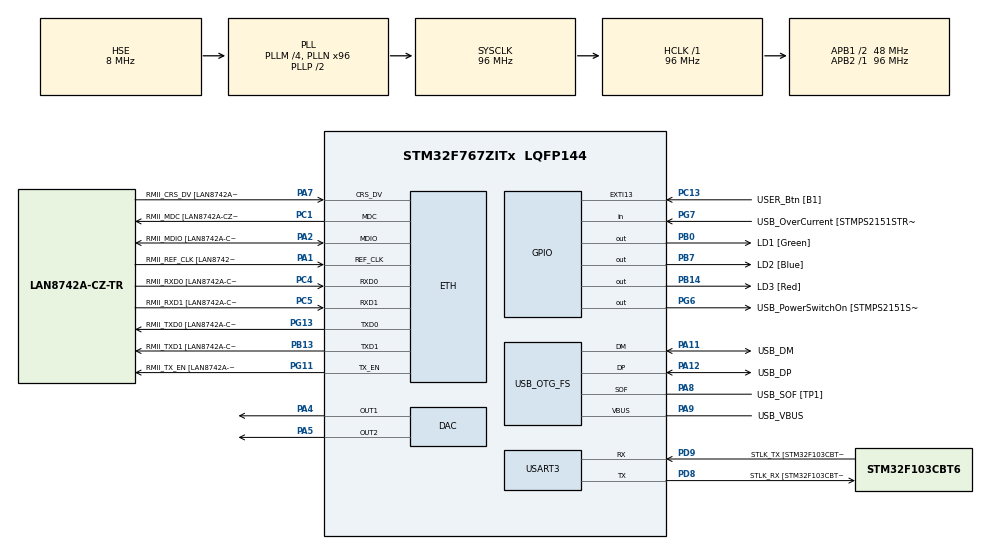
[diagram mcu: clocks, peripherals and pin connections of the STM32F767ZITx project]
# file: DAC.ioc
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DAC.DAC_Trigger=DAC_TRIGGER_T6_TRGO
DAC.DAC_Trigger2=DAC_TRIGGER_T6_TRGO
Dma.DAC1.0.Direction=DMA_MEMORY_TO_PERIPH
Dma.DAC1.0.FIFOMode=DMA_FIFOMODE_DISABLE
Dma.DAC1.0.Instance=DMA1_Stream5
Dma.DAC1.0.MemDataAlignment=DMA_MDATAALIGN_HALFWORD
Dma.DAC1.0.MemInc=DMA_MINC_ENABLE
Dma.DAC1.0.Mode=DMA_CIRCULAR
Dma.DAC1.0.PeriphDataAlignment=DMA_PDATAALIGN_HALFWORD
Dma.DAC1.0.PeriphInc=DMA_PINC_DISABLE
Dma.DAC1.0.Priority=DMA_PRIORITY_LOW
Dma.DAC2.1.Direction=DMA_MEMORY_TO_PERIPH
Dma.DAC2.1.FIFOMode=DMA_FIFOMODE_DISABLE
Dma.DAC2.1.Instance=DMA1_Stream6
Dma.DAC2.1.MemDataAlignment=DMA_MDATAALIGN_HALFWORD
Dma.DAC2.1.MemInc=DMA_MINC_ENABLE
Dma.DAC2.1.Mode=DMA_CIRCULAR
Dma.DAC2.1.PeriphDataAlignment=DMA_PDATAALIGN_HALFWORD
Dma.DAC2.1.PeriphInc=DMA_PINC_DISABLE
Dma.DAC2.1.Priority=DMA_PRIORITY_LOW
Dma.Request0=DAC1
Dma.Request1=DAC2
ETH.MediaInterface=HAL_ETH_RMII_MODE
ETH.PHY_Name=LAN8742A_PHY_ADDRESS
ETH.PHY_Value=0
ETH.PhyAddress=0
Mcu.Family=STM32F7
Mcu.Name=STM32F767ZITx
Mcu.Package=LQFP144
NVIC.DMA1_Stream5_IRQn=true\:0\:0\:false\:false\:true\:false\:true\:true
NVIC.DMA1_Stream6_IRQn=true\:0\:0\:false\:false\:true\:false\:true\:true
NVIC.PriorityGroup=NVIC_PRIORITYGROUP_4
PA1.GPIO_Label=RMII_REF_CLK [LAN8742A-CZ-TR_REFCLK0]
PA1.Mode=RMII
PA1.Signal=ETH_REF_CLK
PA10.GPIO_Label=USB_ID
PA10.Signal=USB_OTG_FS_ID
PA11.GPIO_Label=USB_DM
PA11.Mode=Device_Only
PA11.Signal=USB_OTG_FS_DM
PA12.GPIO_Label=USB_DP
PA12.Mode=Device_Only
PA12.Signal=USB_OTG_FS_DP
PA13.GPIO_Label=TMS
PA13.Mode=Serial_Wire
PA13.Signal=SYS_JTMS-SWDIO
PA14.GPIO_Label=TCK
PA14.Mode=Serial_Wire
PA14.Signal=SYS_JTCK-SWCLK
PA2.GPIO_Label=RMII_MDIO [LAN8742A-CZ-TR_MDIO]
PA2.Mode=RMII
PA2.Signal=ETH_MDIO
PA4.Signal=COMP_DAC1_group
PA5.Signal=COMP_DAC2_group
PA7.GPIO_Label=RMII_CRS_DV [LAN8742A-CZ-TR_CRS_DV]
PA7.Mode=RMII
PA7.Signal=ETH_CRS_DV
PA8.GPIO_Label=USB_SOF [TP1]
PA8.Mode=Activate_SOF_FS
PA8.Signal=USB_OTG_FS_SOF
PA9.GPIO_Label=USB_VBUS
PA9.Mode=Activate_VBUS
PA9.Signal=USB_OTG_FS_VBUS
PB0.GPIO_Label=LD1 [Green]
PB0.Signal=GPIO_Output
PB13.GPIO_Label=RMII_TXD1 [LAN8742A-CZ-TR_TXD1]
PB13.Mode=RMII
PB13.Signal=ETH_TXD1
PB14.GPIO_Label=LD3 [Red]
PB14.Signal=GPIO_Output
PB3.GPIO_Label=SWO
PB3.Signal=SYS_JTDO-SWO
PB7.GPIO_Label=LD2 [Blue]
PB7.Signal=GPIO_Output
PC1.GPIO_Label=RMII_MDC [LAN8742A-CZ-TR_MDC]
PC1.Mode=RMII
PC1.Signal=ETH_MDC
PC13.GPIO_Label=USER_Btn [B1]
PC13.Signal=GPXTI13
PC14/OSC32_IN.Mode=LSE-External-Oscillator
PC14/OSC32_IN.Signal=RCC_OSC32_IN
PC15/OSC32_OUT.Mode=LSE-External-Oscillator
PC15/OSC32_OUT.Signal=RCC_OSC32_OUT
PC4.GPIO_Label=RMII_RXD0 [LAN8742A-CZ-TR_RXD0]
PC4.Mode=RMII
PC4.Signal=ETH_RXD0
PC5.GPIO_Label=RMII_RXD1 [LAN8742A-CZ-TR_RXD1]
PC5.Mode=RMII
PC5.Signal=ETH_RXD1
PD8.GPIO_Label=STLK_RX [STM32F103CBT6_PA3]
PD8.Mode=Asynchronous
PD8.Signal=USART3_TX
PD9.GPIO_Label=STLK_TX [STM32F103CBT6_PA2]
PD9.Mode=Asynchronous
PD9.Signal=USART3_RX
PG11.GPIO_Label=RMII_TX_EN [LAN8742A-CZ-TR_TXEN]
PG11.Mode=RMII
PG11.Signal=ETH_TX_EN
PG13.GPIO_Label=RMII_TXD0 [LAN8742A-CZ-TR_TXD0]
PG13.Mode=RMII
PG13.Signal=ETH_TXD0
PG6.GPIO_Label=USB_PowerSwitchOn [STMPS2151STR_EN]
PG6.Signal=GPIO_Output
PG7.GPIO_Label=USB_OverCurrent [STMPS2151STR_FAULT]
PG7.Signal=GPIO_Input
PH0/OSC_IN.GPIO_Label=MCO [STM32F103CBT6_PA8]
PH0/OSC_IN.Mode=HSE-External-Clock-Source
PH0/OSC_IN.Signal=RCC_OSC_IN
PH1/OSC_OUT.Mode=HSE-External-Clock-Source
PH1/OSC_OUT.Signal=RCC_OSC_OUT
ProjectManager.HeapSize=0x200
ProjectManager.StackSize=0x400
ProjectManager.TargetToolchain=STM32CubeIDE
RCC.48MHZClocksFreq_Value=24000000
RCC.AHBFreq_Value=96000000
RCC.APB1CLKDivider=RCC_HCLK_DIV2
RCC.APB1Freq_Value=48000000
RCC.APB1TimFreq_Value=96000000
RCC.APB2Freq_Value=96000000
RCC.APB2TimFreq_Value=96000000
RCC.CortexFreq_Value=96000000
RCC.HCLKFreq_Value=96000000
RCC.HSE_VALUE=8000000
RCC.HSI_VALUE=16000000
RCC.PLLM=4
RCC.PLLMUL=RCC_PLL_MUL9
RCC.PLLN=96
RCC.PLLQ=4
RCC.PRESCALERUSB=RCC_USBCLKSOURCE_PLL_DIV1_5
RCC.SYSCLKFreq_VALUE=96000000
RCC.SYSCLKSource=RCC_SYSCLKSOURCE_PLLCLK
RCC.SYSCLKSourceVirtual=RCC_SYSCLKSOURCE_PLLCLK
RCC.USBFreq_Value=48000000
RCC.VCOOutputFreq_Value=192000000
SH.COMP_DAC1_group.0=DAC_OUT1,DAC_OUT1
SH.COMP_DAC2_group.0=DAC_OUT2,DAC_OUT2
TIM6.Period=999
TIM6.Prescaler=95
TIM6.TIM_MasterOutputTrigger=TIM_TRGO_UPDATE
USART3.VirtualMode-Asynchronous=VM_ASYNC
USB_OTG_FS.VirtualMode=Device_Only
VP_TIM6_VS_ClockSourceINT.Mode=Enable_Timer
board=NUCLEO-F767ZI

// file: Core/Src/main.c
/* USER CODE BEGIN Header */
/**
  ******************************************************************************
  * @file           : main.c
  * @brief          : Main program body
  ******************************************************************************
  * @attention
  *
  * Copyright (c) 2026 STMicroelectronics.
  * All rights reserved.
  *
  * This software is licensed under terms that can be found in the LICENSE file
  * in the root directory of this software component.
  * If no LICENSE file comes with this software, it is provided AS-IS.
  *
  ******************************************************************************
  */
/* USER CODE END Header */
#include "main.h"
#include "string.h"
#include "math.h"
/* USER CODE BEGIN Includes */

#define wave_sample  64

/* USER CODE END Includes */

#if defined ( __ICCARM__ ) /*!< IAR Compiler */
#pragma location=0x2007c000
ETH_DMADescTypeDef  DMARxDscrTab[ETH_RX_DESC_CNT]; /* Ethernet Rx DMA Descriptors */
#pragma location=0x2007c0a0
ETH_DMADescTypeDef  DMATxDscrTab[ETH_TX_DESC_CNT]; /* Ethernet Tx DMA Descriptors */

#elif defined ( __CC_ARM )  /* MDK ARM Compiler */

__attribute__((at(0x2007c000))) ETH_DMADescTypeDef  DMARxDscrTab[ETH_RX_DESC_CNT]; /* Ethernet Rx DMA Descriptors */
__attribute__((at(0x2007c0a0))) ETH_DMADescTypeDef  DMATxDscrTab[ETH_TX_DESC_CNT]; /* Ethernet Tx DMA Descriptors */

#elif defined ( __GNUC__ ) /* GNU Compiler */

ETH_DMADescTypeDef DMARxDscrTab[ETH_RX_DESC_CNT] __attribute__((section(".RxDecripSection"))); /* Ethernet Rx DMA Descriptors */
ETH_DMADescTypeDef DMATxDscrTab[ETH_TX_DESC_CNT] __attribute__((section(".TxDecripSection")));   /* Ethernet Tx DMA Descriptors */
#endif

ETH_TxPacketConfig TxConfig;

DAC_HandleTypeDef hdac;
DMA_HandleTypeDef hdma_dac1;
DMA_HandleTypeDef hdma_dac2;

ETH_HandleTypeDef heth;

TIM_HandleTypeDef htim6;

UART_HandleTypeDef huart3;

PCD_HandleTypeDef hpcd_USB_OTG_FS;

/* USER CODE BEGIN PV */
int i = 0 , j =0;

uint32_t wave[wave_sample];
volatile uint32_t currentDACvalue;
/* USER CODE END PV */

void SystemClock_Config(void);
static void MX_GPIO_Init(void);
static void MX_DMA_Init(void);
static void MX_ETH_Init(void);
static void MX_USART3_UART_Init(void);
static void MX_USB_OTG_FS_PCD_Init(void);
static void MX_DAC_Init(void);
static void MX_TIM6_Init(void);

/* USER CODE BEGIN 0 */
/*
void dac_led(void)
{

	for(i=0;i<=4095;i+=8)
	{

		HAL_DAC_SetValue(&hdac, DAC_CHANNEL_1, DAC_ALIGN_12B_R, i);
		HAL_DAC_SetValue(&hdac, DAC_CHANNEL_2, DAC_ALIGN_12B_R, i);
		HAL_Delay(5);
	}

	for(j=4095 ; j>0; j-=8)
	{

		HAL_DAC_SetValue(&hdac, DAC_CHANNEL_1, DAC_ALIGN_12B_R, j);
				HAL_DAC_SetValue(&hdac, DAC_CHANNEL_2, DAC_ALIGN_12B_R, j);
				HAL_Delay(5);

	}

}
*/

void sin_function(void)
{
	for(int i = 0; i < wave_sample; i++)
	{
		wave[i] = (uint32_t)((sinf(2.0f * M_PI * i / wave_sample) + 1.0f) * 2047.0f);
	}

}

void HAL_DAC_ConvCplCallbackCh1(DAC_HandleTypeDef *hdac)
{
static int index = 0;
currentDACvalue = wave[index];
index = (index+1)%64;
}

/* USER CODE END 0 */

int main(void)
{

  /* MCU Configuration--------------------------------------------------------*/

  /* Reset of all peripherals, Initializes the Flash interface and the Systick. */
  HAL_Init();

  /* Configure the system clock */
  SystemClock_Config();

  /* Initialize all configured peripherals */
  MX_GPIO_Init();
  MX_DMA_Init();
  MX_ETH_Init();
  MX_USART3_UART_Init();
  MX_USB_OTG_FS_PCD_Init();
  MX_DAC_Init();
  MX_TIM6_Init();
  /* USER CODE BEGIN 2 */
  /*
HAL_DAC_Start(&hdac,DAC_CHANNEL_1);
HAL_DAC_Start(&hdac,DAC_CHANNEL_2);
*/
  sin_function();
  HAL_DAC_Start_DMA(&hdac, DAC_CHANNEL_1, wave, wave_sample, DAC_ALIGN_12B_R);
  HAL_DAC_Start_DMA(&hdac, DAC_CHANNEL_2, wave, wave_sample, DAC_ALIGN_12B_R);
  HAL_TIM_Base_Start(&htim6);

  /* USER CODE END 2 */

  /* Infinite loop */
  while (1)
  {

  }
}

void SystemClock_Config(void)
{
  RCC_OscInitTypeDef RCC_OscInitStruct = {0};
  RCC_ClkInitTypeDef RCC_ClkInitStruct = {0};

  /** Configure LSE Drive Capability
  */
  HAL_PWR_EnableBkUpAccess();

  /** Configure the main internal regulator output voltage
  */
  __HAL_RCC_PWR_CLK_ENABLE();
  __HAL_PWR_VOLTAGESCALING_CONFIG(PWR_REGULATOR_VOLTAGE_SCALE3);

  /** Initializes the RCC Oscillators according to the specified parameters
  * in the RCC_OscInitTypeDef structure.
  */
  RCC_OscInitStruct.OscillatorType = RCC_OSCILLATORTYPE_HSE;
  RCC_OscInitStruct.HSEState = RCC_HSE_BYPASS;
  RCC_OscInitStruct.PLL.PLLState = RCC_PLL_ON;
  RCC_OscInitStruct.PLL.PLLSource = RCC_PLLSOURCE_HSE;
  RCC_OscInitStruct.PLL.PLLM = 4;
  RCC_OscInitStruct.PLL.PLLN = 96;
  RCC_OscInitStruct.PLL.PLLP = RCC_PLLP_DIV2;
  RCC_OscInitStruct.PLL.PLLQ = 4;
  RCC_OscInitStruct.PLL.PLLR = 2;
  if (HAL_RCC_OscConfig(&RCC_OscInitStruct) != HAL_OK)
  {
    Error_Handler();
  }

  /** Activate the Over-Drive mode
  */
  if (HAL_PWREx_EnableOverDrive() != HAL_OK)
  {
    Error_Handler();
  }

  /** Initializes the CPU, AHB and APB buses clocks
  */
  RCC_ClkInitStruct.ClockType = RCC_CLOCKTYPE_HCLK|RCC_CLOCKTYPE_SYSCLK
                              |RCC_CLOCKTYPE_PCLK1|RCC_CLOCKTYPE_PCLK2;
  RCC_ClkInitStruct.SYSCLKSource = RCC_SYSCLKSOURCE_PLLCLK;
  RCC_ClkInitStruct.AHBCLKDivider = RCC_SYSCLK_DIV1;
  RCC_ClkInitStruct.APB1CLKDivider = RCC_HCLK_DIV2;
  RCC_ClkInitStruct.APB2CLKDivider = RCC_HCLK_DIV1;

  if (HAL_RCC_ClockConfig(&RCC_ClkInitStruct, FLASH_LATENCY_3) != HAL_OK)
  {
    Error_Handler();
  }
}

static void MX_DAC_Init(void)
{

  DAC_ChannelConfTypeDef sConfig = {0};

  /** DAC Initialization
  */
  hdac.Instance = DAC;
  if (HAL_DAC_Init(&hdac) != HAL_OK)
  {
    Error_Handler();
  }

  /** DAC channel OUT1 config
  */
  sConfig.DAC_Trigger = DAC_TRIGGER_T6_TRGO;
  sConfig.DAC_OutputBuffer = DAC_OUTPUTBUFFER_ENABLE;
  if (HAL_DAC_ConfigChannel(&hdac, &sConfig, DAC_CHANNEL_1) != HAL_OK)
  {
    Error_Handler();
  }

  /** DAC channel OUT2 config
  */
  if (HAL_DAC_ConfigChannel(&hdac, &sConfig, DAC_CHANNEL_2) != HAL_OK)
  {
    Error_Handler();
  }

}

static void MX_ETH_Init(void)
{

   static uint8_t MACAddr[6];

  heth.Instance = ETH;
  MACAddr[0] = 0x00;
  MACAddr[1] = 0x80;
  MACAddr[2] = 0xE1;
  MACAddr[3] = 0x00;
  MACAddr[4] = 0x00;
  MACAddr[5] = 0x00;
  heth.Init.MACAddr = &MACAddr[0];
  heth.Init.MediaInterface = HAL_ETH_RMII_MODE;
  heth.Init.TxDesc = DMATxDscrTab;
  heth.Init.RxDesc = DMARxDscrTab;
  heth.Init.RxBuffLen = 1524;

  if (HAL_ETH_Init(&heth) != HAL_OK)
  {
    Error_Handler();
  }

  memset(&TxConfig, 0 , sizeof(ETH_TxPacketConfig));
  TxConfig.Attributes = ETH_TX_PACKETS_FEATURES_CSUM | ETH_TX_PACKETS_FEATURES_CRCPAD;
  TxConfig.ChecksumCtrl = ETH_CHECKSUM_IPHDR_PAYLOAD_INSERT_PHDR_CALC;
  TxConfig.CRCPadCtrl = ETH_CRC_PAD_INSERT;

}

static void MX_TIM6_Init(void)
{

  TIM_MasterConfigTypeDef sMasterConfig = {0};

  htim6.Instance = TIM6;
  htim6.Init.Prescaler = 95;
  htim6.Init.CounterMode = TIM_COUNTERMODE_UP;
  htim6.Init.Period = 999;
  htim6.Init.AutoReloadPreload = TIM_AUTORELOAD_PRELOAD_DISABLE;
  if (HAL_TIM_Base_Init(&htim6) != HAL_OK)
  {
    Error_Handler();
  }
  sMasterConfig.MasterOutputTrigger = TIM_TRGO_UPDATE;
  sMasterConfig.MasterSlaveMode = TIM_MASTERSLAVEMODE_DISABLE;
  if (HAL_TIMEx_MasterConfigSynchronization(&htim6, &sMasterConfig) != HAL_OK)
  {
    Error_Handler();
  }

}

static void MX_USART3_UART_Init(void)
{

  huart3.Instance = USART3;
  huart3.Init.BaudRate = 115200;
  huart3.Init.WordLength = UART_WORDLENGTH_8B;
  huart3.Init.StopBits = UART_STOPBITS_1;
  huart3.Init.Parity = UART_PARITY_NONE;
  huart3.Init.Mode = UART_MODE_TX_RX;
  huart3.Init.HwFlowCtl = UART_HWCONTROL_NONE;
  huart3.Init.OverSampling = UART_OVERSAMPLING_16;
  huart3.Init.OneBitSampling = UART_ONE_BIT_SAMPLE_DISABLE;
  huart3.AdvancedInit.AdvFeatureInit = UART_ADVFEATURE_NO_INIT;
  if (HAL_UART_Init(&huart3) != HAL_OK)
  {
    Error_Handler();
  }

}

static void MX_USB_OTG_FS_PCD_Init(void)
{

  hpcd_USB_OTG_FS.Instance = USB_OTG_FS;
  hpcd_USB_OTG_FS.Init.dev_endpoints = 6;
  hpcd_USB_OTG_FS.Init.speed = PCD_SPEED_FULL;
  hpcd_USB_OTG_FS.Init.dma_enable = DISABLE;
  hpcd_USB_OTG_FS.Init.phy_itface = PCD_PHY_EMBEDDED;
  hpcd_USB_OTG_FS.Init.Sof_enable = ENABLE;
  hpcd_USB_OTG_FS.Init.low_power_enable = DISABLE;
  hpcd_USB_OTG_FS.Init.lpm_enable = DISABLE;
  hpcd_USB_OTG_FS.Init.vbus_sensing_enable = ENABLE;
  hpcd_USB_OTG_FS.Init.use_dedicated_ep1 = DISABLE;
  if (HAL_PCD_Init(&hpcd_USB_OTG_FS) != HAL_OK)
  {
    Error_Handler();
  }

}

static void MX_DMA_Init(void)
{

  /* DMA controller clock enable */
  __HAL_RCC_DMA1_CLK_ENABLE();

  /* DMA interrupt init */
  /* DMA1_Stream5_IRQn interrupt configuration */
  HAL_NVIC_SetPriority(DMA1_Stream5_IRQn, 0, 0);
  HAL_NVIC_EnableIRQ(DMA1_Stream5_IRQn);
  /* DMA1_Stream6_IRQn interrupt configuration */
  HAL_NVIC_SetPriority(DMA1_Stream6_IRQn, 0, 0);
  HAL_NVIC_EnableIRQ(DMA1_Stream6_IRQn);

}

static void MX_GPIO_Init(void)
{
  GPIO_InitTypeDef GPIO_InitStruct = {0};

  /* GPIO Ports Clock Enable */
  __HAL_RCC_GPIOC_CLK_ENABLE();
  __HAL_RCC_GPIOH_CLK_ENABLE();
  __HAL_RCC_GPIOA_CLK_ENABLE();
  __HAL_RCC_GPIOB_CLK_ENABLE();
  __HAL_RCC_GPIOD_CLK_ENABLE();
  __HAL_RCC_GPIOG_CLK_ENABLE();

  /*Configure GPIO pin Output Level */
  HAL_GPIO_WritePin(GPIOB, LD1_Pin|LD3_Pin|LD2_Pin, GPIO_PIN_RESET);

  /*Configure GPIO pin Output Level */
  HAL_GPIO_WritePin(USB_PowerSwitchOn_GPIO_Port, USB_PowerSwitchOn_Pin, GPIO_PIN_RESET);

  /*Configure GPIO pin : USER_Btn_Pin */
  GPIO_InitStruct.Pin = USER_Btn_Pin;
  GPIO_InitStruct.Mode = GPIO_MODE_IT_RISING;
  GPIO_InitStruct.Pull = GPIO_NOPULL;
  HAL_GPIO_Init(USER_Btn_GPIO_Port, &GPIO_InitStruct);

  /*Configure GPIO pins : LD1_Pin LD3_Pin LD2_Pin */
  GPIO_InitStruct.Pin = LD1_Pin|LD3_Pin|LD2_Pin;
  GPIO_InitStruct.Mode = GPIO_MODE_OUTPUT_PP;
  GPIO_InitStruct.Pull = GPIO_NOPULL;
  GPIO_InitStruct.Speed = GPIO_SPEED_FREQ_LOW;
  HAL_GPIO_Init(GPIOB, &GPIO_InitStruct);

  /*Configure GPIO pin : USB_PowerSwitchOn_Pin */
  GPIO_InitStruct.Pin = USB_PowerSwitchOn_Pin;
  GPIO_InitStruct.Mode = GPIO_MODE_OUTPUT_PP;
  GPIO_InitStruct.Pull = GPIO_NOPULL;
  GPIO_InitStruct.Speed = GPIO_SPEED_FREQ_LOW;
  HAL_GPIO_Init(USB_PowerSwitchOn_GPIO_Port, &GPIO_InitStruct);

  /*Configure GPIO pin : USB_OverCurrent_Pin */
  GPIO_InitStruct.Pin = USB_OverCurrent_Pin;
  GPIO_InitStruct.Mode = GPIO_MODE_INPUT;
  GPIO_InitStruct.Pull = GPIO_NOPULL;
  HAL_GPIO_Init(USB_OverCurrent_GPIO_Port, &GPIO_InitStruct);

}

void Error_Handler(void)
{
  __disable_irq();
  while (1)
  {
  }
}
